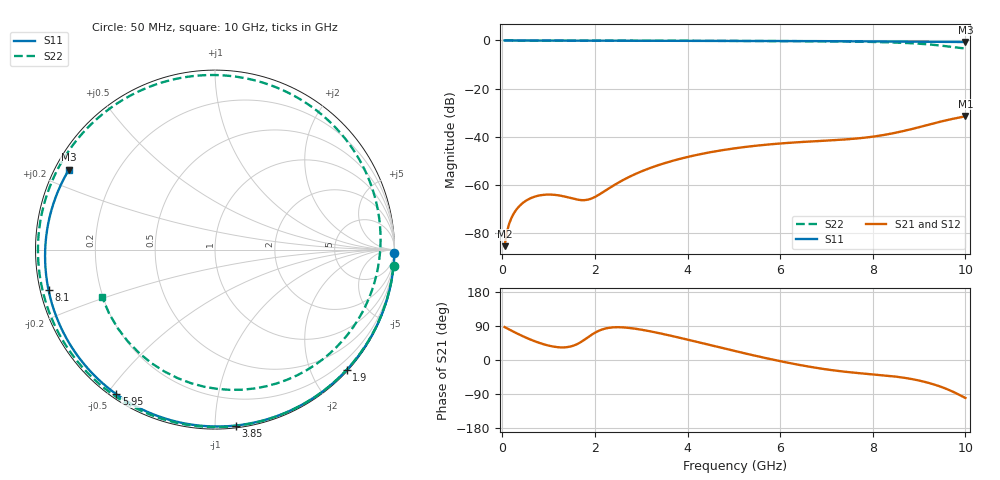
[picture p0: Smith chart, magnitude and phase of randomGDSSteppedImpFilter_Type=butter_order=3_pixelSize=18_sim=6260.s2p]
! freq	dB(S11)	phase(S11)	dB(S12)	phase(S12)
!  dB(S21)	phase(S21)	dB(S22)	phase(S22)
!S-par simulation data
#  GHz  S  DB  R 50
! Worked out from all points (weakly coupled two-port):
!   200 points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, 50 MHz to 10 GHz, reference 50 ohm
!   highest |S21| = -31.42 dB at 10 GHz (marker M1); lowest = -85.4 dB at 50 MHz (marker M2)
!   lowest |S11| = -0.7 dB at 10 GHz (marker M3), VSWR 26.73, Z = 1.99 + j12.8 ohm
!   |S11| at or under -10 dB: nowhere
!   |S22| runs from -3.3 to 0.0 dB; largest |S21 - S12| = 0
!   S11 on the Smith chart (normalised r, x): 50 MHz: open; 1.9 GHz: 0.02, -2.57; 3.85 GHz: 0.01, -1.12; 5.95 GHz: 0.02, -0.53; 8.1 GHz: 0.02, -0.12; 10 GHz: 0.04, +0.26
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0.05  -0.00 -1.2  -85.44 86.8  -85.44 86.8  -0.00 -5.4
0.1  -0.00 -2.3  -79.47 83.6  -79.47 83.6  -0.01 -10.7
0.2  -0.01 -4.6  -73.61 77.3  -73.61 77.3  -0.03 -21.2
0.35  -0.01 -8.0  -69.18 68.2  -69.18 68.2  -0.05 -36.4
0.55  -0.02 -12.5  -66.12 57.0  -66.12 57.0  -0.07 -55.5
0.8  -0.02 -18.1  -64.38 45.2  -64.38 45.2  -0.09 -77.0
1.2  -0.03 -27.1  -64.29 33.8  -64.29 33.8  -0.10 -105.8
1.75  -0.05 -39.2  -66.34 51.5  -66.34 51.5  -0.11 -136.1
1.9  -0.05 -42.5  -65.83 64.2  -65.83 64.2  -0.11 -143.1
2.6  -0.07 -57.5  -58.05 86.1  -58.05 86.1  -0.11 -170.7
3.4  -0.10 -74.1  -51.60 70.5  -51.60 70.5  -0.13 163.4
3.85  -0.11 -83.3  -49.11 58.1  -49.11 58.1  -0.14 150.0
5.05  -0.17 -107.0  -44.72 22.9  -44.72 22.9  -0.19 115.1
5.95  -0.22 -124.3  -42.87 -1.8  -42.87 -1.8  -0.25 87.6
6.7  -0.27 -138.7  -41.91 -19.1  -41.91 -19.1  -0.32 62.6
7.4  -0.33 -152.3  -41.12 -31.0  -41.12 -31.0  -0.44 36.4
8.1  -0.41 -166.4  -39.69 -38.9  -39.69 -38.9  -0.66 5.9
8.35  -0.43 -171.5  -38.87 -41.8  -38.87 -41.8  -0.79 -6.5
8.9  -0.50 176.8  -36.52 -51.6  -36.52 -51.6  -1.23 -38.7
9.4  -0.57 165.6  -34.03 -67.6  -34.03 -67.6  -1.99 -78.8
9.7  -0.61 158.6  -32.67 -82.0  -32.67 -82.0  -2.67 -112.4
10  -0.65 151.3  -31.42 -100.2  -31.42 -100.2  -3.32 -157.3
